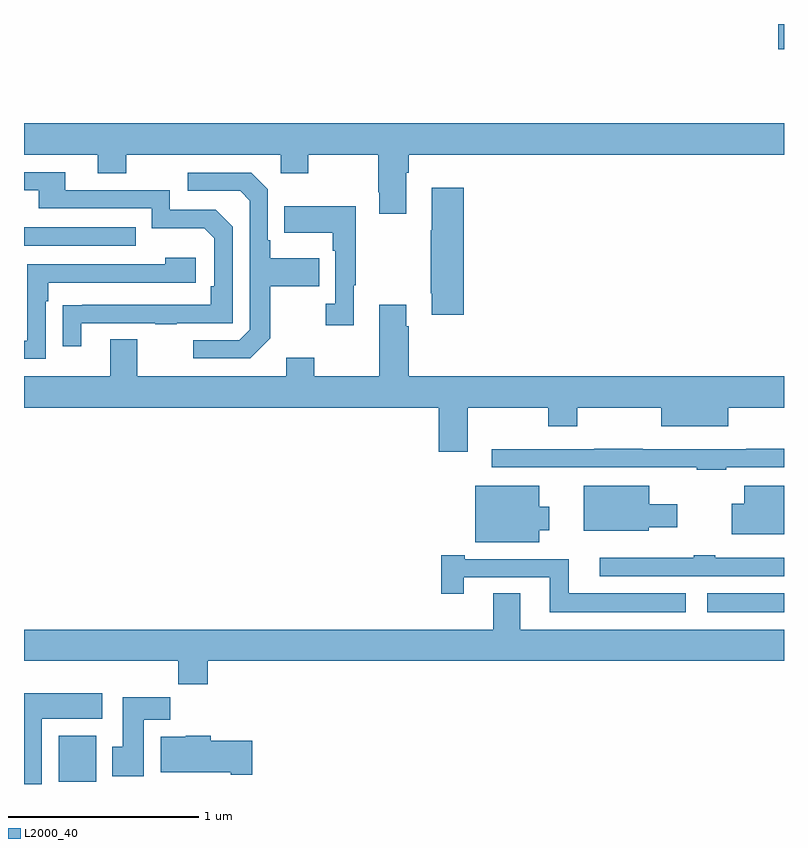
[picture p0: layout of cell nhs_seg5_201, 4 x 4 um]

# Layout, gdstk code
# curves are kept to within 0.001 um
import gdstk
lib = gdstk.Library(unit=1e-6, precision=1e-09)
def R(c, l, rs):  # rectangles x0, y0, x1, y1
    for r in rs: c.add(gdstk.rectangle(r[:2], r[2:], *l))
def P(c, l, *ps):  # polygons
    for p in ps: c.add(gdstk.Polygon(p, *l))
L2000_40 = (2000, 40)

nhs_seg5_201 = lib.new_cell('nhs_seg5_201')
R(nhs_seg5_201, L2000_40, [(123.182,834.812,123.379,835.054), (126.597,835.703,127,835.804), (123,837.633,123.587,837.729), (126.971,838.665,127,838.799)])
P(nhs_seg5_201, L2000_40, [(123,838.112),(123.389,838.112),(123.389,838.013),(123.537,838.013),(123.537,838.112),(124.35,838.112),(124.35,838.013),(124.497,838.013),(124.497,838.112),(124.864,838.112),(124.864,837.913),(124.871,837.913),(124.871,837.801),(125.011,837.801),(125.011,838.016),(125.024,838.016),(125.024,838.112),(127,838.112),(127,838.276),(123,838.276)],
  [(123.301,837.225),(123.691,837.225),(123.691,837.22),(123.803,837.22),(123.803,837.225),(124.098,837.225),(124.098,837.732),(124.008,837.822),(123.768,837.822),(123.768,837.924),(123.217,837.924),(123.217,838.02),(123,838.02),(123,837.924),(123.077,837.924),(123.077,837.828),(123.672,837.828),(123.672,837.725),(123.949,837.725),(124.002,837.672),(124.002,837.418),(123.982,837.418),(123.982,837.321),(123.205,837.32),(123.205,837.102),(123.301,837.102)],
  [(124.297,837.145),(124.297,837.418),(124.553,837.418),(124.553,837.565),(124.297,837.565),(124.297,837.661),(124.284,837.661),(124.284,837.93),(124.197,838.017),(123.861,838.017),(123.861,837.921),(124.137,837.921),(124.188,837.87),(124.188,837.189),(124.134,837.135),(123.891,837.135),(123.891,837.039),(124.191,837.039)],
  [(125.315,837.937),(125.147,837.937),(125.147,837.713),(125.14,837.713),(125.14,837.382),(125.147,837.382),(125.147,837.27),(125.315,837.27)],
  [(124.735,837.425),(124.747,837.425),(124.747,837.841),(124.369,837.841),(124.369,837.701),(124.626,837.701),(124.626,837.605),(124.638,837.605),(124.638,837.326),(124.587,837.326),(124.587,837.213),(124.735,837.213)],
  [(123.114,837.341),(123.127,837.341),(123.127,837.438),(123.904,837.438),(123.904,837.568),(123.743,837.568),(123.743,837.534),(123.018,837.534),(123.018,837.132),(123,837.132),(123,837.036),(123.114,837.036)],
  [(125.335,836.78),(125.758,836.78),(125.758,836.681),(125.913,836.681),(125.913,836.78),(126.353,836.78),(126.353,836.681),(126.706,836.681),(126.706,836.78),(127,836.78),(127,836.944),(125.024,836.944),(125.024,837.209),(125.011,837.209),(125.011,837.322),(124.871,837.322),(124.871,836.944),(124.527,836.944),(124.527,837.043),(124.379,837.043),(124.379,836.944),(123.595,836.944),(123.595,837.139),(123.455,837.139),(123.455,836.944),(123,836.944),(123,836.78),(125.183,836.78),(125.183,836.547),(125.335,836.547)],
  [(126.695,836.466),(127,836.466),(127,836.564),(126.802,836.564),(126.802,836.562),(126.257,836.562),(126.257,836.564),(126.001,836.564),(126.001,836.562),(125.463,836.562),(125.463,836.466),(126.388,836.466),(126.388,836.465),(126.542,836.465),(126.542,836.454),(126.695,836.454)],
  [(125.713,836.135),(125.764,836.135),(125.764,836.257),(125.713,836.257),(125.713,836.368),(125.375,836.368),(125.375,836.072),(125.713,836.072)],
  [(126.288,836.15),(126.439,836.15),(126.439,836.272),(126.292,836.272),(126.292,836.368),(125.945,836.368),(125.945,836.132),(126.288,836.132)],
  [(127,836.368),(126.791,836.368),(126.791,836.275),(126.726,836.275),(126.726,836.114),(127,836.114)],
  [(126.484,835.804),(125.866,835.804),(125.866,835.983),(125.32,835.983),(125.32,836.003),(125.197,836.003),(125.197,835.8),(125.314,835.8),(125.314,835.887),(125.768,835.887),(125.768,835.703),(126.484,835.703)],
  [(127,835.989),(126.638,835.989),(126.638,836.002),(126.526,836.002),(126.526,835.99),(126.03,835.99),(126.03,835.893),(127,835.893)],
  [(123.968,835.448),(127,835.448),(127,835.612),(125.611,835.612),(125.611,835.802),(125.471,835.802),(125.471,835.612),(123,835.612),(123,835.448),(123.811,835.448),(123.811,835.324),(123.968,835.324)],
  [(123.094,835.142),(123.412,835.142),(123.412,835.276),(123,835.276),(123,834.799),(123.094,834.799)],
  [(123.631,835.136),(123.77,835.136),(123.77,835.255),(123.521,835.255),(123.521,834.996),(123.464,834.996),(123.464,834.84),(123.631,834.84)],
  [(124.201,835.026),(123.983,835.026),(123.983,835.054),(123.852,835.054),(123.852,835.048),(123.719,835.048),(123.719,834.86),(124.088,834.86),(124.088,834.848),(124.201,834.848)])

lib.write_gds('nhs_seg5_201.gds')
